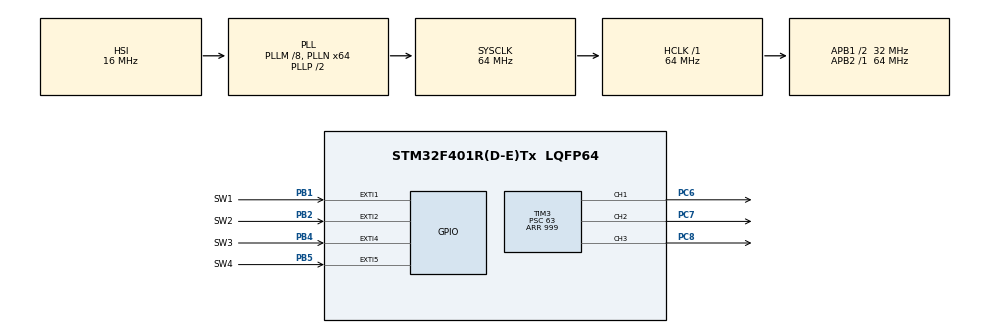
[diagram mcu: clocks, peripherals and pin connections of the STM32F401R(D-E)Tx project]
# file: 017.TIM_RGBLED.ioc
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Mcu.Family=STM32F4
Mcu.Name=STM32F401R(D-E)Tx
Mcu.Package=LQFP64
NVIC.EXTI1_IRQn=true\:0\:0\:false\:false\:true\:true\:true\:true
NVIC.EXTI2_IRQn=true\:0\:0\:false\:false\:true\:true\:true\:true
NVIC.EXTI4_IRQn=true\:0\:0\:false\:false\:true\:true\:true\:true
NVIC.EXTI9_5_IRQn=true\:0\:0\:false\:false\:true\:true\:true\:true
NVIC.PriorityGroup=NVIC_PRIORITYGROUP_4
PA13.Mode=Serial_Wire
PA13.Signal=SYS_JTMS-SWDIO
PA14.Mode=Serial_Wire
PA14.Signal=SYS_JTCK-SWCLK
PB1.GPIO_Label=SW1
PB1.Signal=GPXTI1
PB2.GPIO_Label=SW2
PB2.Signal=GPXTI2
PB4.GPIO_Label=SW3
PB4.Signal=GPXTI4
PB5.GPIO_Label=SW4
PB5.Signal=GPXTI5
PC6.Signal=S_TIM3_CH1
PC7.Signal=S_TIM3_CH2
PC8.Signal=S_TIM3_CH3
ProjectManager.HeapSize=0x200
ProjectManager.StackSize=0x400
ProjectManager.TargetToolchain=STM32CubeIDE
RCC.48MHZClocksFreq_Value=32000000
RCC.AHBFreq_Value=64000000
RCC.APB1CLKDivider=RCC_HCLK_DIV2
RCC.APB1Freq_Value=32000000
RCC.APB1TimFreq_Value=64000000
RCC.APB2Freq_Value=64000000
RCC.APB2TimFreq_Value=64000000
RCC.CortexFreq_Value=64000000
RCC.HCLKFreq_Value=64000000
RCC.HSE_VALUE=25000000
RCC.HSI_VALUE=16000000
RCC.LSE_VALUE=32768
RCC.PLLM=8
RCC.PLLN=64
RCC.SYSCLKFreq_VALUE=64000000
RCC.SYSCLKSource=RCC_SYSCLKSOURCE_PLLCLK
RCC.VCOOutputFreq_Value=128000000
SH.S_TIM3_CH1.0=TIM3_CH1,PWM Generation1 CH1
SH.S_TIM3_CH2.0=TIM3_CH2,PWM Generation2 CH2
SH.S_TIM3_CH3.0=TIM3_CH3,PWM Generation3 CH3
TIM3.Channel-PWM\ Generation1\ CH1=TIM_CHANNEL_1
TIM3.Channel-PWM\ Generation2\ CH2=TIM_CHANNEL_2
TIM3.Channel-PWM\ Generation3\ CH3=TIM_CHANNEL_3
TIM3.Period=999
TIM3.Prescaler=63
VP_TIM3_VS_ClockSourceINT.Mode=Internal
board=custom

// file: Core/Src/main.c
/* USER CODE BEGIN Header */
/**
  ******************************************************************************
  * @file           : main.c
  * @brief          : Main program body
  ******************************************************************************
  * @attention
  *
  * Copyright (c) 2025 STMicroelectronics.
  * All rights reserved.
  *
  * This software is licensed under terms that can be found in the LICENSE file
  * in the root directory of this software component.
  * If no LICENSE file comes with this software, it is provided AS-IS.
  *
  ******************************************************************************
  */
/* USER CODE END Header */
#include "main.h"

/* USER CODE BEGIN PM */
#define TIMER_ADD_ADDRESS	4U
/* USER CODE END PM */

TIM_HandleTypeDef htim3;

/* USER CODE BEGIN PV */
volatile uint16_t gTim3Pulse[3];
/* USER CODE END PV */

void SystemClock_Config(void);
static void MX_GPIO_Init(void);
static void MX_TIM3_Init(void);

int main(void)
{

  /* MCU Configuration--------------------------------------------------------*/

  /* Reset of all peripherals, Initializes the Flash interface and the Systick. */
  HAL_Init();

  /* Configure the system clock */
  SystemClock_Config();

  /* Initialize all configured peripherals */
  MX_GPIO_Init();
  MX_TIM3_Init();
  /* USER CODE BEGIN 2 */
  HAL_TIM_PWM_Start(&htim3, TIM_CHANNEL_1);
  HAL_TIM_PWM_Start(&htim3, TIM_CHANNEL_2);
  HAL_TIM_PWM_Start(&htim3, TIM_CHANNEL_3);
  /* USER CODE END 2 */

  /* Infinite loop */
  while (1)
  {

  }
}

void SystemClock_Config(void)
{
  RCC_OscInitTypeDef RCC_OscInitStruct = {0};
  RCC_ClkInitTypeDef RCC_ClkInitStruct = {0};

  /** Configure the main internal regulator output voltage
  */
  __HAL_RCC_PWR_CLK_ENABLE();
  __HAL_PWR_VOLTAGESCALING_CONFIG(PWR_REGULATOR_VOLTAGE_SCALE2);

  /** Initializes the RCC Oscillators according to the specified parameters
  * in the RCC_OscInitTypeDef structure.
  */
  RCC_OscInitStruct.OscillatorType = RCC_OSCILLATORTYPE_HSI;
  RCC_OscInitStruct.HSIState = RCC_HSI_ON;
  RCC_OscInitStruct.HSICalibrationValue = RCC_HSICALIBRATION_DEFAULT;
  RCC_OscInitStruct.PLL.PLLState = RCC_PLL_ON;
  RCC_OscInitStruct.PLL.PLLSource = RCC_PLLSOURCE_HSI;
  RCC_OscInitStruct.PLL.PLLM = 8;
  RCC_OscInitStruct.PLL.PLLN = 64;
  RCC_OscInitStruct.PLL.PLLP = RCC_PLLP_DIV2;
  RCC_OscInitStruct.PLL.PLLQ = 4;
  if (HAL_RCC_OscConfig(&RCC_OscInitStruct) != HAL_OK)
  {
    Error_Handler();
  }

  /** Initializes the CPU, AHB and APB buses clocks
  */
  RCC_ClkInitStruct.ClockType = RCC_CLOCKTYPE_HCLK|RCC_CLOCKTYPE_SYSCLK
                              |RCC_CLOCKTYPE_PCLK1|RCC_CLOCKTYPE_PCLK2;
  RCC_ClkInitStruct.SYSCLKSource = RCC_SYSCLKSOURCE_PLLCLK;
  RCC_ClkInitStruct.AHBCLKDivider = RCC_SYSCLK_DIV1;
  RCC_ClkInitStruct.APB1CLKDivider = RCC_HCLK_DIV2;
  RCC_ClkInitStruct.APB2CLKDivider = RCC_HCLK_DIV1;

  if (HAL_RCC_ClockConfig(&RCC_ClkInitStruct, FLASH_LATENCY_2) != HAL_OK)
  {
    Error_Handler();
  }
}

static void MX_TIM3_Init(void)
{

  TIM_ClockConfigTypeDef sClockSourceConfig = {0};
  TIM_MasterConfigTypeDef sMasterConfig = {0};
  TIM_OC_InitTypeDef sConfigOC = {0};

  htim3.Instance = TIM3;
  htim3.Init.Prescaler = 63;
  htim3.Init.CounterMode = TIM_COUNTERMODE_UP;
  htim3.Init.Period = 999;
  htim3.Init.ClockDivision = TIM_CLOCKDIVISION_DIV1;
  htim3.Init.AutoReloadPreload = TIM_AUTORELOAD_PRELOAD_DISABLE;
  if (HAL_TIM_Base_Init(&htim3) != HAL_OK)
  {
    Error_Handler();
  }
  sClockSourceConfig.ClockSource = TIM_CLOCKSOURCE_INTERNAL;
  if (HAL_TIM_ConfigClockSource(&htim3, &sClockSourceConfig) != HAL_OK)
  {
    Error_Handler();
  }
  if (HAL_TIM_PWM_Init(&htim3) != HAL_OK)
  {
    Error_Handler();
  }
  sMasterConfig.MasterOutputTrigger = TIM_TRGO_RESET;
  sMasterConfig.MasterSlaveMode = TIM_MASTERSLAVEMODE_DISABLE;
  if (HAL_TIMEx_MasterConfigSynchronization(&htim3, &sMasterConfig) != HAL_OK)
  {
    Error_Handler();
  }
  sConfigOC.OCMode = TIM_OCMODE_PWM1;
  sConfigOC.Pulse = 0;
  sConfigOC.OCPolarity = TIM_OCPOLARITY_HIGH;
  sConfigOC.OCFastMode = TIM_OCFAST_DISABLE;
  if (HAL_TIM_PWM_ConfigChannel(&htim3, &sConfigOC, TIM_CHANNEL_1) != HAL_OK)
  {
    Error_Handler();
  }
  if (HAL_TIM_PWM_ConfigChannel(&htim3, &sConfigOC, TIM_CHANNEL_2) != HAL_OK)
  {
    Error_Handler();
  }
  if (HAL_TIM_PWM_ConfigChannel(&htim3, &sConfigOC, TIM_CHANNEL_3) != HAL_OK)
  {
    Error_Handler();
  }
  HAL_TIM_MspPostInit(&htim3);

}

static void MX_GPIO_Init(void)
{
  GPIO_InitTypeDef GPIO_InitStruct = {0};

  /* GPIO Ports Clock Enable */
  __HAL_RCC_GPIOB_CLK_ENABLE();
  __HAL_RCC_GPIOC_CLK_ENABLE();
  __HAL_RCC_GPIOA_CLK_ENABLE();

  /*Configure GPIO pins : SW1_Pin SW2_Pin SW3_Pin SW4_Pin */
  GPIO_InitStruct.Pin = SW1_Pin|SW2_Pin|SW3_Pin|SW4_Pin;
  GPIO_InitStruct.Mode = GPIO_MODE_IT_RISING;
  GPIO_InitStruct.Pull = GPIO_NOPULL;
  HAL_GPIO_Init(GPIOB, &GPIO_InitStruct);

  /* EXTI interrupt init*/
  HAL_NVIC_SetPriority(EXTI1_IRQn, 0, 0);
  HAL_NVIC_EnableIRQ(EXTI1_IRQn);

  HAL_NVIC_SetPriority(EXTI2_IRQn, 0, 0);
  HAL_NVIC_EnableIRQ(EXTI2_IRQn);

  HAL_NVIC_SetPriority(EXTI4_IRQn, 0, 0);
  HAL_NVIC_EnableIRQ(EXTI4_IRQn);

  HAL_NVIC_SetPriority(EXTI9_5_IRQn, 0, 0);
  HAL_NVIC_EnableIRQ(EXTI9_5_IRQn);

}

/* USER CODE BEGIN 4 */
void HAL_GPIO_EXTI_Callback(uint16_t GPIO_Pin)
{
	switch(GPIO_Pin)
	{
	case GPIO_PIN_1 :
		if(gTim3Pulse[0] < 1000)
		{
			gTim3Pulse[0] += 100;
		}
		else
		{
			gTim3Pulse[0] = 0;
		}
		__HAL_TIM_SET_COMPARE(&htim3,TIM_CHANNEL_1,gTim3Pulse[0]);
		break;

	case GPIO_PIN_2 :
		if(gTim3Pulse[1] < 1000)
		{
			gTim3Pulse[1] += 100;
		}
		else
		{
			gTim3Pulse[1] = 0;
		}
		__HAL_TIM_SET_COMPARE(&htim3, TIM_CHANNEL_2, gTim3Pulse[1]);
		break;

	case GPIO_PIN_4 :
		if(gTim3Pulse[2] <1000)
		{
			gTim3Pulse[2] += 100;
		}
		else
		{
			gTim3Pulse[2] = 0;
		}
		__HAL_TIM_SET_COMPARE(&htim3, TIM_CHANNEL_3, gTim3Pulse[2]);
		break;

	case GPIO_PIN_5 :
		for(uint8_t i = 0; i<3; i++)
		{
			gTim3Pulse[i] = 0;
			__HAL_TIM_SET_COMPARE(&htim3, (TIM_CHANNEL_1+(TIMER_ADD_ADDRESS*i)), gTim3Pulse[i]);
		}

	}
}
/* USER CODE END 4 */

void Error_Handler(void)
{
  __disable_irq();
  while (1)
  {
  }
}
